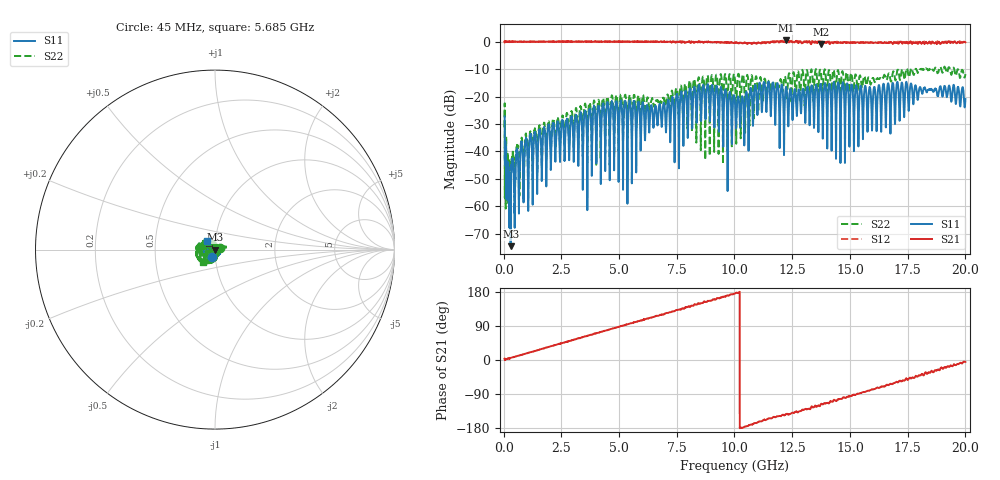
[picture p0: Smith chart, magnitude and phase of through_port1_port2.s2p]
!Agilent Technologies,E8364A,US41440322,A.04.87.01
!Agilent E8364A: A.04.87.01
!Date: Tuesday, July 16, 2024 12:19:35
!Correction: S11(Full 2 Port SOLT,1,2) S21(Full 2 Port SOLT,1,2) S12(Full 2 Port SOLT,1,2) S22(Full 2 Port SOLT,1,2)
!S2P File: Measurements: S11, S21, S12, S22:
# Hz S  dB  R 50
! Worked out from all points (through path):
!   6401 points, 45 MHz to 20 GHz, reference 50 ohm
!   highest |S21| = 0.51 dB at 12.25 GHz (marker M1); lowest = -0.9 dB at 13.73 GHz (marker M2)
!   lowest |S11| = -74.6 dB at 306.9 MHz (marker M3), VSWR 1.00, Z = 50 - j0.0184 ohm
!   |S11| at or under -10 dB: start of sweep to end of sweep
!   |S22| runs from -67.5 to -9.0 dB; largest |S21 - S12| = 0.12
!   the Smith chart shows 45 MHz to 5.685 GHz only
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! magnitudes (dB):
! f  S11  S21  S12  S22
! 45 MHz  -27.2  0.1  -0.2  -31.1
! 213.4 MHz  -48.8  0.0  0.1  -45.8
! 306.9 MHz  -74.6  0.0  0.1  -48.4
! 833.8 MHz  -43.1  0.0  0.1  -39.3
! 1.249 GHz  -47.5  0.0  0.1  -44.7
! 3.372 GHz  -26.9  0.0  0.1  -25.0
! 4.591 GHz  -40.6  0.1  0.1  -43.0
! 5.461 GHz  -21.4  0.0  0.1  -19.3
! 6.699 GHz  -27.0  0.0  0.1  -22.0
! 7.313 GHz  -20.1  0.0  0.1  -18.5
! 8.75 GHz  -27.6  0.0  0.0  -24.0
! 9.795 GHz  -18.3  -0.4  -0.3  -11.8
! 10.02 GHz  -22.3  -0.3  -0.3  -14.1
! 10.52 GHz  -18.3  -0.5  -0.5  -13.7
! 10.97 GHz  -21.9  -0.6  -0.4  -13.8
! 11.38 GHz  -25.2  -0.4  -0.1  -17.9
! 12.25 GHz  -16.8  0.5  0.3  -18.4
! 13.35 GHz  -16.1  -0.3  0.0  -10.7
! 13.73 GHz  -15.4  -0.9  -0.1  -10.5
! 16.68 GHz  -15.6  -0.5  0.0  -11.6
! 18.47 GHz  -17.3  -0.3  -0.3  -9.8
! 20 GHz  -20.9  -0.2  -0.1  -11.8
